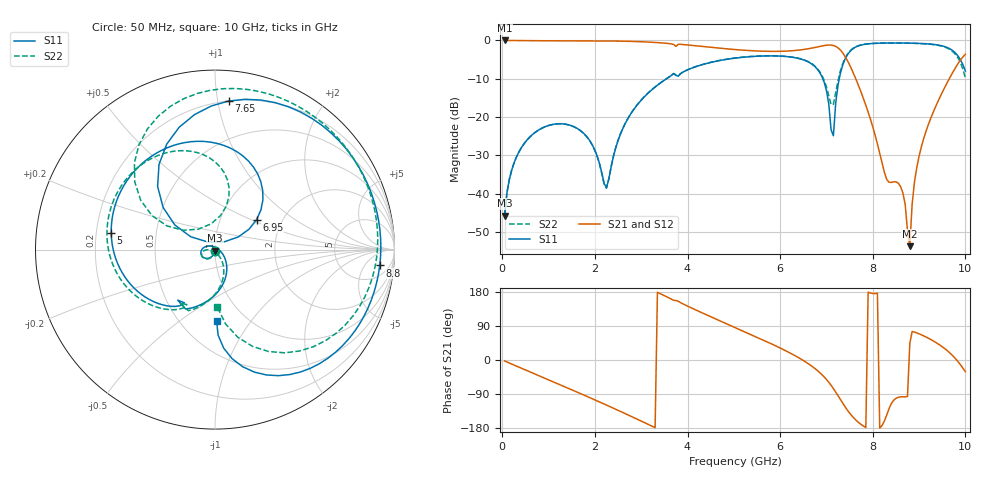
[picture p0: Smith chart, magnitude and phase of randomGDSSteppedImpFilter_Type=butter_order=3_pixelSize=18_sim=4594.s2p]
! freq	dB(S11)	phase(S11)	dB(S12)	phase(S12)
!  dB(S21)	phase(S21)	dB(S22)	phase(S22)
!S-par simulation data
#  GHz  S  DB  R 50
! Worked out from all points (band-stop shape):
!   200 points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, 50 MHz to 10 GHz, reference 50 ohm
!   highest |S21| = 0.00 dB at 50 MHz (marker M1); lowest = -53.7 dB at 8.8 GHz (marker M2)
!   |S21| within 3 dB of the highest: start of sweep to 7.335 GHz
!   lowest |S11| = -45.7 dB at 50 MHz (marker M3), VSWR 1.01, Z = 50 - j0.52 ohm
!   |S11| at or under -10 dB: start of sweep to 3.547 GHz; 6.92 GHz to 7.277 GHz (356.3 MHz wide, 5.02 % of centre)
!   |S22| runs from -45.7 to -0.7 dB; largest |S21 - S12| = 0
!   S11 on the Smith chart (normalised r, x): 50 MHz: 1.00, -0.01; 5 GHz: 0.26, +0.07; 6.95 GHz: 1.49, +0.54; 7.65 GHz: 0.20, +1.07; 8.8 GHz: 10, -12; 10 GHz: 0.74, -0.70
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0.05  -45.67 -91.0  -0.00 -2.7  -0.00 -2.7  -45.66 -90.7
0.2  -33.95 -100.1  -0.02 -10.6  -0.02 -10.6  -33.95 -99.1
0.55  -25.76 -120.6  -0.05 -28.9  -0.05 -28.9  -25.75 -117.8
1.75  -24.15 168.3  -0.12 -91.9  -0.12 -91.9  -24.18 -174.0
2.25  -38.40 53.6  -0.14 -118.9  -0.14 -118.9  -38.53 -111.5
2.65  -21.79 -44.3  -0.20 -141.2  -0.20 -141.2  -21.73 -59.8
3.4  -11.23 -95.0  -0.60 175.7  -0.60 175.7  -11.20 -95.2
5  -4.65 171.0  -2.36 87.1  -2.36 87.1  -4.62 -177.1
5.05  -4.58 168.1  -2.41 84.4  -2.41 84.4  -4.54 -179.5
6.05  -4.12 108.8  -2.82 28.7  -2.82 28.7  -4.09 129.6
6.7  -6.30 60.6  -1.96 -17.7  -1.96 -17.7  -6.20 90.1
6.95  -10.89 35.7  -1.33 -44.7  -1.33 -44.7  -10.35 75.2
7.15  -24.86 132.7  -1.32 -75.5  -1.32 -75.5  -16.66 129.3
7.3  -8.59 140.9  -2.49 -104.1  -2.49 -104.1  -7.96 151.6
7.65  -1.61 84.8  -10.49 -160.2  -10.49 -160.2  -1.55 107.1
8.35  -0.67 23.2  -36.98 -128.8  -36.98 -128.8  -0.68 49.5
8.65  -0.68 3.8  -39.78 -97.0  -39.78 -97.0  -0.69 30.1
8.8  -0.70 -5.5  -53.66 44.2  -53.66 44.2  -0.73 20.5
8.9  -0.73 -11.6  -36.97 73.7  -36.97 73.7  -0.76 14.0
9.1  -0.82 -24.0  -25.59 63.6  -25.59 63.6  -0.86 0.7
9.7  -2.44 -67.6  -8.91 14.5  -8.91 14.5  -2.66 -50.1
10  -7.99 -88.7  -3.61 -30.7  -3.61 -30.7  -9.86 -87.5
